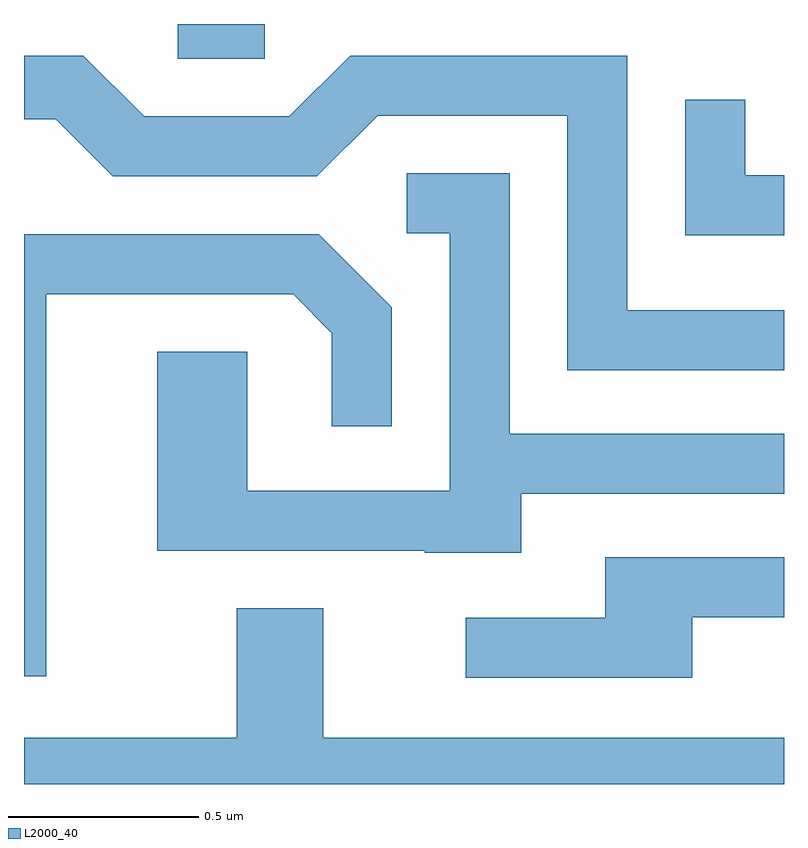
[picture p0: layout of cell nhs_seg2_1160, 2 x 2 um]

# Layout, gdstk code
import gdstk
lib = gdstk.Library(unit=1e-6, precision=1e-09)
def R(c, l, rs):  # rectangles x0, y0, x1, y1
    for r in rs: c.add(gdstk.rectangle(r[:2], r[2:], *l))
def P(c, l, *ps):  # polygons
    for p in ps: c.add(gdstk.Polygon(p, *l))
L2000_40 = (2000, 40)

nhs_seg2_1160 = lib.new_cell('nhs_seg2_1160')
R(nhs_seg2_1160, L2000_40, [(194.016,1043.711,194.244,1043.802)])
P(nhs_seg2_1160, L2000_40, [(195.611,1043.049),(195.199,1043.049),(195.199,1043.719),(194.469,1043.719),(194.309,1043.559),(193.927,1043.559),(193.767,1043.719),(193.611,1043.719),(193.611,1043.551),(193.694,1043.551),(193.844,1043.401),(194.382,1043.401),(194.542,1043.561),(195.041,1043.561),(195.041,1042.891),(195.611,1042.891)],
  [(195.611,1043.404),(195.509,1043.404),(195.509,1043.603),(195.351,1043.603),(195.351,1043.246),(195.611,1043.246)],
  [(194.919,1042.566),(195.611,1042.566),(195.611,1042.724),(194.889,1042.724),(194.889,1043.409),(194.618,1043.409),(194.618,1043.251),(194.731,1043.251),(194.731,1042.574),(194.199,1042.574),(194.199,1042.939),(193.961,1042.939),(193.961,1042.416),(194.665,1042.416),(194.665,1042.411),(194.919,1042.411)],
  [(193.669,1043.091),(194.319,1043.091),(194.421,1042.988),(194.421,1042.743),(194.579,1042.743),(194.579,1043.056),(194.387,1043.249),(193.611,1043.249),(193.611,1042.086),(193.669,1042.086)],
  [(195.369,1042.241),(195.611,1042.241),(195.611,1042.399),(195.141,1042.399),(195.141,1042.239),(194.773,1042.239),(194.773,1042.081),(195.369,1042.081)],
  [(195.611,1041.924),(194.399,1041.924),(194.399,1042.264),(194.171,1042.264),(194.171,1041.924),(193.611,1041.924),(193.611,1041.802),(195.611,1041.802)])

lib.write_gds('nhs_seg2_1160.gds')
